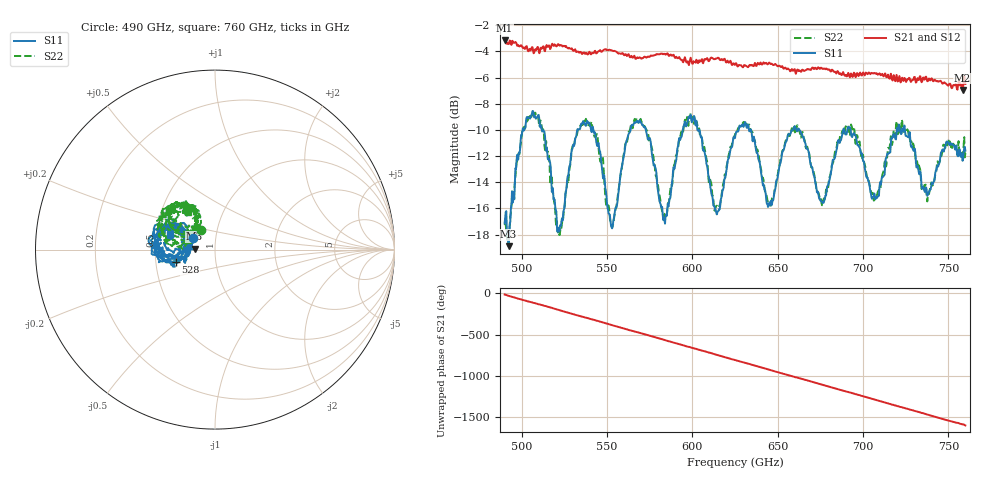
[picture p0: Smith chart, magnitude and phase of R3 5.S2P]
! Python used to change reference impedance from 50 to 1.
# Hz S RI R 1
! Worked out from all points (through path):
!   811 points, 490 GHz to 760 GHz, reference 1 ohm
!   highest |S21| = -3.16 dB at 490 GHz (marker M1); lowest = -6.9 dB at 758.3 GHz (marker M2)
!   group delay of S21, straight-line fit = 16.3 ps
!   lowest |S11| = -18.9 dB at 492.3 GHz (marker M3), VSWR 1.26, Z = 0.796 + j0.00942 ohm
!   |S11| at or under -10 dB: 662.7 GHz to 688.5 GHz (25.8 GHz wide, 3.82 % of centre); 692.7 GHz to 719.8 GHz (27.12 GHz wide, 3.84 % of centre); 724.6 GHz to end of sweep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
!   |S22| runs from -18.5 to -8.7 dB; largest |S21 - S12| = 0.13
!   S11 on the Smith chart (normalised r, x): 490 GHz: 0.77, +0.10; 528 GHz: 0.63, -0.09; 760 GHz: 0.59, +0.11
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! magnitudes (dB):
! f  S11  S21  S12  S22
! 490 GHz  -17.2  -3.2  -3.1  -17.3
! 492.3 GHz  -18.9  -3.4  -3.1  -18.2
! 505 GHz  -9.1  -3.9  -3.9  -8.9
! 521.7 GHz  -17.5  -3.5  -3.5  -17.8
! 528 GHz  -12.8  -3.8  -3.7  -13.0
! 535 GHz  -9.5  -4.1  -4.1  -9.6
! 553 GHz  -17.5  -3.9  -3.9  -17.5
! 567 GHz  -9.4  -4.6  -4.6  -9.3
! 580 GHz  -14.8  -4.2  -4.2  -14.3
! 600 GHz  -9.3  -4.9  -4.9  -9.1
! 614.7 GHz  -16.3  -4.5  -4.5  -15.9
! 625 GHz  -10.6  -5.0  -5.0  -10.4
! 645 GHz  -15.6  -4.9  -4.9  -15.7
! 659 GHz  -10.0  -5.5  -5.5  -10.1
! 670 GHz  -12.8  -5.3  -5.3  -12.9
! 676.7 GHz  -15.6  -5.3  -5.3  -15.4
! 693.7 GHz  -10.5  -5.9  -5.9  -9.9
! 707.3 GHz  -15.3  -5.7  -5.7  -15.1
! 715 GHz  -11.8  -5.9  -5.9  -11.4
! 738.3 GHz  -14.8  -6.1  -6.1  -14.9
! 758.3 GHz  -12.4  -6.9  -6.9  -12.2
! 760 GHz  -11.6  -6.5  -6.7  -11.8
